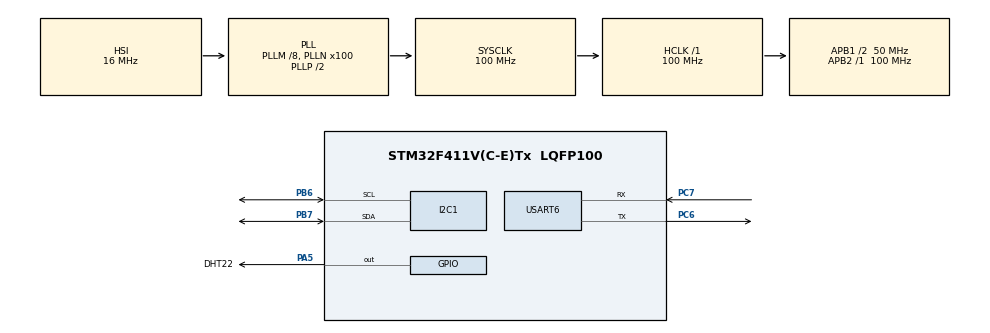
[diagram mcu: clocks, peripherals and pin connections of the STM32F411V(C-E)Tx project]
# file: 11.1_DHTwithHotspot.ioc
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Mcu.Family=STM32F4
Mcu.Name=STM32F411V(C-E)Tx
Mcu.Package=LQFP100
NVIC.PriorityGroup=NVIC_PRIORITYGROUP_4
NVIC.TIM4_IRQn=true\:0\:0\:false\:false\:true\:true\:true\:true
NVIC.USART6_IRQn=true\:0\:0\:false\:false\:true\:true\:true\:true
PA13.Mode=Serial_Wire
PA13.Signal=SYS_JTMS-SWDIO
PA14.Mode=Serial_Wire
PA14.Signal=SYS_JTCK-SWCLK
PA5.GPIO_Label=DHT22
PA5.Signal=GPIO_Output
PB6.Mode=I2C
PB6.Signal=I2C1_SCL
PB7.Mode=I2C
PB7.Signal=I2C1_SDA
PC6.Mode=Asynchronous
PC6.Signal=USART6_TX
PC7.Mode=Asynchronous
PC7.Signal=USART6_RX
ProjectManager.HeapSize=0x200
ProjectManager.StackSize=0x400
ProjectManager.TargetToolchain=STM32CubeIDE
RCC.48MHZClocksFreq_Value=50000000
RCC.AHBFreq_Value=100000000
RCC.APB1CLKDivider=RCC_HCLK_DIV2
RCC.APB1Freq_Value=50000000
RCC.APB1TimFreq_Value=100000000
RCC.APB2Freq_Value=100000000
RCC.APB2TimFreq_Value=100000000
RCC.CortexFreq_Value=100000000
RCC.HCLKFreq_Value=100000000
RCC.HSE_VALUE=25000000
RCC.HSI_VALUE=16000000
RCC.LSE_VALUE=32768
RCC.PLLM=8
RCC.PLLN=100
RCC.SYSCLKFreq_VALUE=100000000
RCC.SYSCLKSource=RCC_SYSCLKSOURCE_PLLCLK
RCC.VCOOutputFreq_Value=200000000
USART6.VirtualMode=VM_ASYNC
VP_TIM4_VS_ClockSourceINT.Mode=Internal
board=custom

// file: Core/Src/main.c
/* USER CODE BEGIN Header */
/**
  ******************************************************************************
  * @file           : main.c
  * @brief          : Hybrid Mode: Blocking Connect -> Non-blocking Data
  * @version        : 2.0
  ******************************************************************************
  */
/* USER CODE END Header */

#include "main.h"
#include "i2c_lcd.h"
#include "dhtxx.h"
#include "dwt.h"
#include <stdio.h>
#include <string.h>
#include "ring_buffer.h"

// CẤU HÌNH MẠNG (Hãy chắc chắn thông tin này khớp với Hotspot hiện tại)
#define WIFI_SSID       "Herukyatto"  // Tên Hotspot (phân biệt hoa thường)
#define WIFI_PASSWORD   "123456789"        // Pass Hotspot
#define SERVER_IP       "192.168.137.120"     // IP Laptop trong mạng Hotspot
#define SERVER_PORT     5000

#define SEND_INTERVAL   5000

I2C_HandleTypeDef hi2c1;
TIM_HandleTypeDef htim4;
UART_HandleTypeDef huart6;

I2C_LCD_HandleTypeDef lcd;
DHTxx_Drv_t dht22;

volatile uint32_t ms_ticks = 0;
RingBuffer wifi_rb;
uint8_t rx_data_temp;

// Buffer dùng cho hàm blocking cũ
char response_buffer[512];
uint16_t response_index = 0;

void SystemClock_Config(void);
static void MX_GPIO_Init(void);
static void MX_I2C1_Init(void);
static void MX_TIM4_Init(void);
static void MX_USART6_UART_Init(void);
void Error_Handler(void);

// Hàm Blocking cũ (đã được phục hồi)
int send_at_command(char* command, char* expected_response, uint32_t timeout);
void WiFi_Connect_Hybrid(void);

int main(void)
{
  HAL_Init();
  SystemClock_Config();
  MX_GPIO_Init();
  MX_I2C1_Init();
  MX_TIM4_Init();
  MX_USART6_UART_Init();
  DwtInit();

  // 1. Khởi tạo LCD & DHT
  lcd.hi2c = &hi2c1;
  lcd.address = 0x4E;
  lcd_init(&lcd);
  lcd_clear(&lcd);
  lcd_puts(&lcd, "System Booting");

  dht22.DataPort = DHT22_GPIO_Port;
  dht22.DataPin = DHT22_Pin;
  dht22.Type = DHT22;

  // 2. KẾT NỐI WIFI (Dùng cách cũ Blocking)
  // Lưu ý: Lúc này chưa bật ngắt UART để tránh xung đột với hàm blocking
  WiFi_Connect_Hybrid();

  // 3. CHUYỂN SANG CHẾ ĐỘ 2 CHIỀU (Non-blocking)
  // Sau khi đã nối thông server và vào mode Transparent, ta bật RingBuffer
  RB_Init(&wifi_rb);
  HAL_UART_Receive_IT(&huart6, &rx_data_temp, 1); // Bắt đầu hứng dữ liệu từ Server
  HAL_TIM_Base_Start_IT(&htim4);

  lcd_clear(&lcd);
  lcd_puts(&lcd, "System Ready!");
  HAL_Delay(1000);

  uint32_t last_send_time = 0;

  /* --- 4. VÒNG LẶP CHÍNH --- */
  while (1)
  {
      // --- A. Gửi dữ liệu lên (Uplink) ---
      if (ms_ticks - last_send_time >= SEND_INTERVAL)
      {
          last_send_time = ms_ticks;
          DHT_GetData(&dht22);

          // Format JSON gọn nhẹ
          char json_msg[64];
          sprintf(json_msg, "{\"t\":%.1f,\"h\":%.1f}\n", dht22.Temperature, dht22.Humidity);

          // Gửi đi (Transparent mode nên cứ bắn là đi)
          HAL_UART_Transmit(&huart6, (uint8_t*)json_msg, strlen(json_msg), 100);

          lcd_gotoxy(&lcd, 0, 0);
          lcd_puts(&lcd, "Sent Data...    ");
      }

      // --- B. Nhận lệnh xuống (Downlink - Realtime) ---
      if (!RB_IsEmpty(&wifi_rb))
      {
          uint8_t data;
          static int col = 0;
          if (col == 0) {
              lcd_gotoxy(&lcd, 0, 1);
              lcd_puts(&lcd, "Rx:             "); // Xóa dòng 2
              lcd_gotoxy(&lcd, 0, 1);
              lcd_puts(&lcd, "Rx: ");
              col = 4;
          }

          // Đọc hết dữ liệu trong buffer
          while (RB_Get(&wifi_rb, &data))
          {
              // Hiển thị lên LCD để test 2 chiều
              if (data >= 32 && data <= 126)
              {
                  char s[2] = {data, 0};
                  lcd_puts(&lcd, s);
                  col++;
                  if (col > 15) col = 0;
              }
              // Sau này ta sẽ thêm parser JSON ở đây:
              // if (data == '}') { ProcessJSON(...); }
          }
      }
  }
}

/* ============================================================ */
/* CÁC HÀM HỖ TRỢ (Hybrid)                             */
/* ============================================================ */

// Hàm gửi AT Blocking (Cũ của bạn - Đã chỉnh sửa nhẹ để chạy độc lập)
int send_at_command(char* command, char* expected_response, uint32_t timeout)
{
    // Xóa buffer cũ
    memset(response_buffer, 0, sizeof(response_buffer));
    response_index = 0;

    // Gửi lệnh
    HAL_UART_Transmit(&huart6, (uint8_t*)command, strlen(command), 100);

    // Chờ phản hồi (Polling thủ công thay vì ngắt để tránh phức tạp giai đoạn này)
    uint32_t start_time = HAL_GetTick();
    while (HAL_GetTick() - start_time < timeout)
    {
        uint8_t byte;
        // Kiểm tra xem có dữ liệu trong thanh ghi DR không
        if (__HAL_UART_GET_FLAG(&huart6, UART_FLAG_RXNE))
        {
            HAL_UART_Receive(&huart6, &byte, 1, 10); // Đọc 1 byte
            if (response_index < sizeof(response_buffer) - 1)
            {
                response_buffer[response_index++] = byte;
                response_buffer[response_index] = 0; // Null terminate

                // Kiểm tra xem chuỗi kỳ vọng có xuất hiện không
                if (strstr(response_buffer, expected_response) != NULL)
                {
                    return 1; // Thành công
                }
            }
        }
    }
    return 0; // Timeout
}

void WiFi_Connect_Hybrid(void)
{
    lcd_clear(&lcd);
    lcd_puts(&lcd, "Checking AT...");

    // 1. Kiểm tra AT
    if (send_at_command("AT\r\n", "OK", 1000)) {
        lcd_gotoxy(&lcd, 0, 1); lcd_puts(&lcd, "AT OK");
    } else {
        lcd_gotoxy(&lcd, 0, 1); lcd_puts(&lcd, "AT FAIL");
        HAL_Delay(1000); // Cứ thử tiếp xem sao
    }
    HAL_Delay(1000);

    lcd_clear(&lcd); lcd_puts(&lcd, "Resetting...");

    // 2. Reset & Cấu hình Mode (Code cũ của bạn)
    send_at_command("AT+RST\r\n", "ready", 5000); // Đợi chữ ready
    HAL_Delay(2000);
    send_at_command("ATE0\r\n", "OK", 1000);      // Tắt echo

    // Dùng lệnh WMODE gốc của module combo
    if(send_at_command("AT+WMODE=1,1\r\n", "OK", 3000)) {
        lcd_gotoxy(&lcd, 0, 1); lcd_puts(&lcd, "Station Mode OK");
    }
    HAL_Delay(1000);

    // 3. Kết nối Wifi (QUAN TRỌNG)
    lcd_clear(&lcd); lcd_puts(&lcd, "Connecting WiFi...");
    char connect_cmd[128];
    // Dùng lệnh WJAP gốc của module combo [cite: 30]
    sprintf(connect_cmd, "AT+WJAP=%s,%s\r\n", WIFI_SSID, WIFI_PASSWORD);

    // Chờ +EVENT:WIFI_GOT_IP như code cũ bạn cung cấp
    if (send_at_command(connect_cmd, "+EVENT:WIFI_GOT_IP", 20000))
    {
        lcd_clear(&lcd); lcd_puts(&lcd, "WiFi Connected!");
    }
    else
    {
        lcd_clear(&lcd); lcd_puts(&lcd, "WiFi Failed!");
        // Nếu fail, ta vẫn thử kết nối Server xem có phép màu không (đôi khi buffer lỡ nhịp)
    }
    HAL_Delay(2000);

    // 4. Kết nối TCP Server (Bước đệm để lên 2 chiều)
    lcd_clear(&lcd); lcd_puts(&lcd, "Linking Server..");
    char server_cmd[128];
    // Dùng lệnh SOCKET chuẩn của module combo (Thay vì CIPSTART) [cite: 50]
    // Type 4 = TCP Client
    sprintf(server_cmd, "AT+SOCKET=4,%s,%d\r\n", SERVER_IP, SERVER_PORT);

    if (send_at_command(server_cmd, "connect success", 10000)) {
        lcd_gotoxy(&lcd, 0, 1); lcd_puts(&lcd, "Server OK!");
    } else {
        lcd_gotoxy(&lcd, 0, 1); lcd_puts(&lcd, "Server Fail!");
        // Có thể server chưa bật, nhưng cứ đi tiếp để test luồng
    }
    HAL_Delay(2000);

    // 5. Vào chế độ Transparent (AT+SOCKETTT) [cite: 52]
    // Để sau hàm này, mọi thứ ta gửi bằng HAL_UART_Transmit sẽ bay thẳng tới server
    send_at_command("AT+SOCKETTT\r\n", ">", 3000);

    lcd_clear(&lcd);
}

/* USER CODE BEGIN 4 */
void Error_Handler(void)
{
  __disable_irq();
  while (1) {}
}

/* GIỮ NGUYÊN CÁC HÀM INIT KHÁC (SystemClock, MX_...) */
void SystemClock_Config(void) {
  RCC_OscInitTypeDef RCC_OscInitStruct = {0};
  RCC_ClkInitTypeDef RCC_ClkInitStruct = {0};
  __HAL_RCC_PWR_CLK_ENABLE();
  __HAL_PWR_VOLTAGESCALING_CONFIG(PWR_REGULATOR_VOLTAGE_SCALE1);
  RCC_OscInitStruct.OscillatorType = RCC_OSCILLATORTYPE_HSI;
  RCC_OscInitStruct.HSIState = RCC_HSI_ON;
  RCC_OscInitStruct.HSICalibrationValue = RCC_HSICALIBRATION_DEFAULT;
  RCC_OscInitStruct.PLL.PLLState = RCC_PLL_ON;
  RCC_OscInitStruct.PLL.PLLSource = RCC_PLLSOURCE_HSI;
  RCC_OscInitStruct.PLL.PLLM = 8;
  RCC_OscInitStruct.PLL.PLLN = 100;
  RCC_OscInitStruct.PLL.PLLP = RCC_PLLP_DIV2;
  RCC_OscInitStruct.PLL.PLLQ = 4;
  if (HAL_RCC_OscConfig(&RCC_OscInitStruct) != HAL_OK) Error_Handler();
  RCC_ClkInitStruct.ClockType = RCC_CLOCKTYPE_HCLK|RCC_CLOCKTYPE_SYSCLK|RCC_CLOCKTYPE_PCLK1|RCC_CLOCKTYPE_PCLK2;
  RCC_ClkInitStruct.SYSCLKSource = RCC_SYSCLKSOURCE_PLLCLK;
  RCC_ClkInitStruct.AHBCLKDivider = RCC_SYSCLK_DIV1;
  RCC_ClkInitStruct.APB1CLKDivider = RCC_HCLK_DIV2;
  RCC_ClkInitStruct.APB2CLKDivider = RCC_HCLK_DIV1;
  if (HAL_RCC_ClockConfig(&RCC_ClkInitStruct, FLASH_LATENCY_3) != HAL_OK) Error_Handler();
}
static void MX_I2C1_Init(void) {
  hi2c1.Instance = I2C1; hi2c1.Init.ClockSpeed = 100000; hi2c1.Init.DutyCycle = I2C_DUTYCYCLE_2; hi2c1.Init.OwnAddress1 = 0; hi2c1.Init.AddressingMode = I2C_ADDRESSINGMODE_7BIT; hi2c1.Init.DualAddressMode = I2C_DUALADDRESS_DISABLE; hi2c1.Init.OwnAddress2 = 0; hi2c1.Init.GeneralCallMode = I2C_GENERALCALL_DISABLE; hi2c1.Init.NoStretchMode = I2C_NOSTRETCH_DISABLE;
  if (HAL_I2C_Init(&hi2c1) != HAL_OK) Error_Handler();
}
static void MX_TIM4_Init(void) {
  TIM_ClockConfigTypeDef sClockSourceConfig = {0}; TIM_MasterConfigTypeDef sMasterConfig = {0};
  htim4.Instance = TIM4; htim4.Init.Prescaler = 99; htim4.Init.CounterMode = TIM_COUNTERMODE_UP; htim4.Init.Period = 999; htim4.Init.ClockDivision = TIM_CLOCKDIVISION_DIV1; htim4.Init.AutoReloadPreload = TIM_AUTORELOAD_PRELOAD_DISABLE;
  if (HAL_TIM_Base_Init(&htim4) != HAL_OK) Error_Handler();
  sClockSourceConfig.ClockSource = TIM_CLOCKSOURCE_INTERNAL; if (HAL_TIM_ConfigClockSource(&htim4, &sClockSourceConfig) != HAL_OK) Error_Handler();
  sMasterConfig.MasterOutputTrigger = TIM_TRGO_RESET; sMasterConfig.MasterSlaveMode = TIM_MASTERSLAVEMODE_DISABLE;
  if (HAL_TIMEx_MasterConfigSynchronization(&htim4, &sMasterConfig) != HAL_OK) Error_Handler();
}
static void MX_USART6_UART_Init(void) {
  huart6.Instance = USART6; huart6.Init.BaudRate = 115200; huart6.Init.WordLength = UART_WORDLENGTH_8B; huart6.Init.StopBits = UART_STOPBITS_1; huart6.Init.Parity = UART_PARITY_NONE; huart6.Init.Mode = UART_MODE_TX_RX; huart6.Init.HwFlowCtl = UART_HWCONTROL_NONE; huart6.Init.OverSampling = UART_OVERSAMPLING_16;
  if (HAL_UART_Init(&huart6) != HAL_OK) Error_Handler();
}
static void MX_GPIO_Init(void) {
  GPIO_InitTypeDef GPIO_InitStruct = {0};
  __HAL_RCC_GPIOH_CLK_ENABLE(); __HAL_RCC_GPIOA_CLK_ENABLE(); __HAL_RCC_GPIOC_CLK_ENABLE(); __HAL_RCC_GPIOB_CLK_ENABLE();
  GPIO_InitStruct.Pin = DHT22_Pin; GPIO_InitStruct.Mode = GPIO_MODE_INPUT; GPIO_InitStruct.Pull = GPIO_NOPULL;
  HAL_GPIO_Init(GPIOA, &GPIO_InitStruct);
}
void HAL_TIM_PeriodElapsedCallback(TIM_HandleTypeDef *htim) {
  if (htim->Instance == TIM4) ms_ticks++;
}
void HAL_UART_RxCpltCallback(UART_HandleTypeDef *huart) {
  if (huart->Instance == USART6) {
    RB_Put(&wifi_rb, rx_data_temp);
    HAL_UART_Receive_IT(&huart6, &rx_data_temp, 1);
  }
}
/* USER CODE END 4 */
